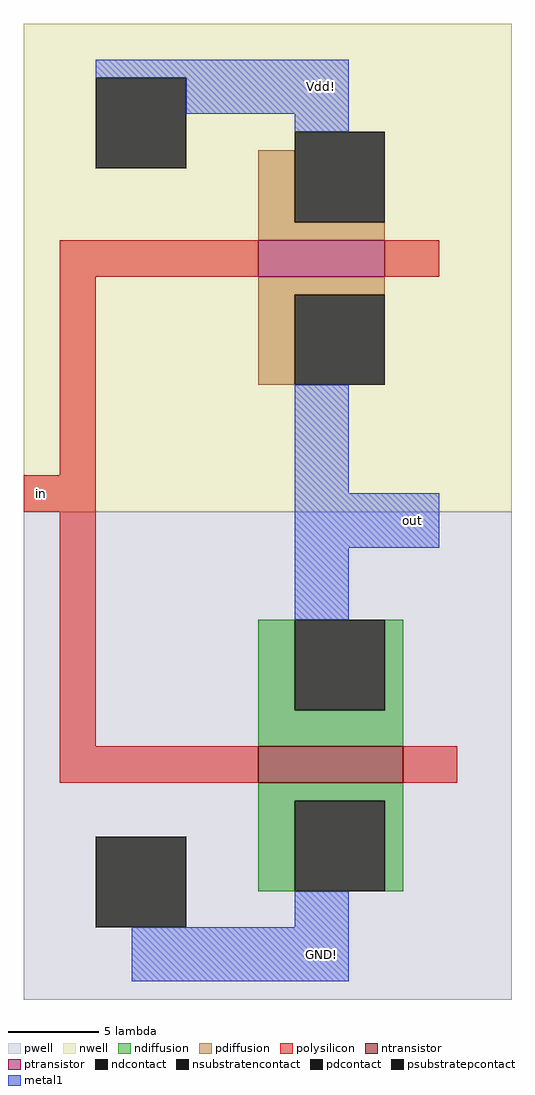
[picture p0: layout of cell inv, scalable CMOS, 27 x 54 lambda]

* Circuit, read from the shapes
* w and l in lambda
.subckt inv GND! Vdd! in out
M1 out in GND! GND! nfet w=8 l=2
M2 Vdd! in out Vdd! pfet w=7 l=2
.ends

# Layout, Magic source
magic
tech scmos
<< nwell >>
rect -12 -8 15 19
<< pwell >>
rect -12 -35 15 -8
<< ntransistor >>
rect 1 -23 9 -21
<< ptransistor >>
rect 1 5 8 7
<< ndiffusion >>
rect 1 -19 3 -14
rect 8 -19 9 -14
rect 1 -21 9 -19
rect 1 -24 9 -23
rect 1 -29 3 -24
rect 8 -29 9 -24
<< pdiffusion >>
rect 1 8 3 12
rect 1 7 8 8
rect 1 4 8 5
rect 1 -1 3 4
<< ndcontact >>
rect 3 -19 8 -14
rect 3 -29 8 -24
<< pdcontact >>
rect 3 8 8 13
rect 3 -1 8 4
<< psubstratepcontact >>
rect -8 -31 -3 -26
<< nsubstratencontact >>
rect -8 11 -3 16
<< polysilicon >>
rect -10 5 1 7
rect 8 5 11 7
rect -10 -6 -8 5
rect -12 -8 -8 -6
rect -10 -21 -8 -8
rect -10 -23 1 -21
rect 9 -23 12 -21
<< metal1 >>
rect -8 16 6 17
rect -3 14 6 16
rect 3 13 6 14
rect 3 -7 6 -1
rect 3 -10 11 -7
rect 3 -14 6 -10
rect 3 -31 6 -29
rect -6 -34 6 -31
<< labels >>
rlabel metal1 8 -10 11 -7 1 out
rlabel metal1 4 15 5 16 5 Vdd!
rlabel metal1 4 -33 5 -32 1 GND!
rlabel polysilicon -12 -8 -10 -6 3 in
<< end >>
